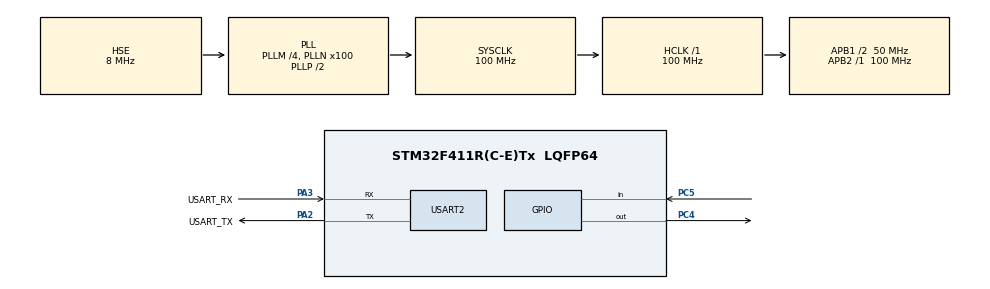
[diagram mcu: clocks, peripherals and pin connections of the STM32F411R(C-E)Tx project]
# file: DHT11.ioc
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Dma.Request0=USART2_RX
Dma.USART2_RX.0.Direction=DMA_PERIPH_TO_MEMORY
Dma.USART2_RX.0.FIFOMode=DMA_FIFOMODE_DISABLE
Dma.USART2_RX.0.Instance=DMA1_Stream5
Dma.USART2_RX.0.MemDataAlignment=DMA_MDATAALIGN_BYTE
Dma.USART2_RX.0.MemInc=DMA_MINC_ENABLE
Dma.USART2_RX.0.Mode=DMA_NORMAL
Dma.USART2_RX.0.PeriphDataAlignment=DMA_PDATAALIGN_BYTE
Dma.USART2_RX.0.PeriphInc=DMA_PINC_DISABLE
Dma.USART2_RX.0.Priority=DMA_PRIORITY_LOW
Mcu.Family=STM32F4
Mcu.Name=STM32F411R(C-E)Tx
Mcu.Package=LQFP64
NVIC.DMA1_Stream5_IRQn=true\:0\:0\:false\:false\:true\:false\:true\:true
NVIC.PriorityGroup=NVIC_PRIORITYGROUP_0
NVIC.RCC_IRQn=true\:0\:0\:false\:false\:true\:true\:false\:true
NVIC.TIM1_TRG_COM_TIM11_IRQn=true\:0\:0\:false\:false\:true\:true\:true\:true
NVIC.USART2_IRQn=true\:0\:0\:false\:false\:true\:true\:true\:true
PA13.GPIO_Label=TMS
PA13.Mode=Serial_Wire
PA13.Signal=SYS_JTMS-SWDIO
PA14.GPIO_Label=TCK
PA14.Mode=Serial_Wire
PA14.Signal=SYS_JTCK-SWCLK
PA2.GPIO_Label=USART_TX
PA2.Mode=Asynchronous
PA2.Signal=USART2_TX
PA3.GPIO_Label=USART_RX
PA3.Mode=Asynchronous
PA3.Signal=USART2_RX
PB3.GPIO_Label=SWO
PB3.Signal=SYS_JTDO-SWO
PC4.GPIO_Speed=GPIO_SPEED_FREQ_HIGH
PC4.Signal=GPIO_Output
PC5.Signal=GPIO_Input
PH0\ -\ OSC_IN.Mode=HSE-External-Oscillator
PH0\ -\ OSC_IN.Signal=RCC_OSC_IN
PH1\ -\ OSC_OUT.Mode=HSE-External-Oscillator
PH1\ -\ OSC_OUT.Signal=RCC_OSC_OUT
ProjectManager.HeapSize=0x200
ProjectManager.StackSize=0x400
ProjectManager.TargetToolchain=STM32CubeIDE
RCC.48MHZClocksFreq_Value=50000000
RCC.AHBFreq_Value=100000000
RCC.APB1CLKDivider=RCC_HCLK_DIV2
RCC.APB1Freq_Value=50000000
RCC.APB1TimFreq_Value=100000000
RCC.APB2Freq_Value=100000000
RCC.APB2TimFreq_Value=100000000
RCC.CortexFreq_Value=100000000
RCC.FLatency-AdvancedSettings=FLASH_LATENCY_3
RCC.HCLKFreq_Value=100000000
RCC.HSE_VALUE=8000000
RCC.HSI_VALUE=16000000
RCC.LSE_VALUE=32768
RCC.PLLM=4
RCC.PLLN=100
RCC.PLLSourceVirtual=RCC_PLLSOURCE_HSE
RCC.SYSCLKFreq_VALUE=100000000
RCC.SYSCLKSource=RCC_SYSCLKSOURCE_PLLCLK
RCC.VCOOutputFreq_Value=200000000
TIM11.Prescaler=100-1
USART2.VirtualMode=VM_ASYNC
VP_TIM11_VS_ClockSourceINT.Mode=Enable_Timer
board=NUCLEO-F411RE

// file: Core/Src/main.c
/* USER CODE BEGIN Header */
/**
  ******************************************************************************
  * @file           : main.c
  * @brief          : Main program body
  ******************************************************************************
  * @attention
  *
  * Copyright (c) 2025 STMicroelectronics.
  * All rights reserved.
  *
  * This software is licensed under terms that can be found in the LICENSE file
  * in the root directory of this software component.
  * If no LICENSE file comes with this software, it is provided AS-IS.
  *
  ******************************************************************************
  */
/* USER CODE END Header */
#include "main.h"
#include "dma.h"
#include "tim.h"
#include "usart.h"
#include "gpio.h"

/* USER CODE BEGIN Includes */
#include "dht11.h"
/* USER CODE END Includes */

/* USER CODE BEGIN PD */
#ifdef __GNUC__
  /* With GCC, small printf (option LD Linker->Libraries->Small printf
     set to 'Yes') calls __io_putchar() */
  #define PUTCHAR_PROTOTYPE int __io_putchar(int ch)
#else
  #define PUTCHAR_PROTOTYPE int fputc(int ch, FILE *f)
#endif /* __GNUC__ */
PUTCHAR_PROTOTYPE
{
  /* Place your implementation of fputc here */
  /* e.g. write a character to the EVAL_COM1 and Loop until the end of transmission */
  HAL_UART_Transmit(&huart2, (uint8_t *)&ch, 1, 0xFFFF);

  return ch;
}
/* USER CODE END PD */

/* USER CODE BEGIN PV */

DHT11 dht;

/* USER CODE END PV */

void SystemClock_Config(void);

int main(void)
{

  /* MCU Configuration--------------------------------------------------------*/

  /* Reset of all peripherals, Initializes the Flash interface and the Systick. */
  HAL_Init();

  /* Configure the system clock */
  SystemClock_Config();

  /* Initialize all configured peripherals */
  MX_GPIO_Init();
  MX_DMA_Init();
  MX_USART2_UART_Init();
  MX_TIM11_Init();
  /* USER CODE BEGIN 2 */

  dht11Init(&dht, GPIOC, GPIO_PIN_4);
  /* USER CODE END 2 */

  /* Infinite loop */
  /* USER CODE BEGIN WHILE */
  while (1)
  {
  //DHT11 데이터 읽기
    if(dht11Read(&dht)) //성공적으로 읽으면 true 반환
    {
      printf("Temperature : %d C,    Huminity : %d %% \r\n", dht.temperature, dht.humidity);
    }
    else
    {
      printf("Failed Read Data from DHT11\n");
    }

    HAL_Delay(2000);

    /* USER CODE END WHILE */

  }
}

void SystemClock_Config(void)
{
  RCC_OscInitTypeDef RCC_OscInitStruct = {0};
  RCC_ClkInitTypeDef RCC_ClkInitStruct = {0};

  /** Configure the main internal regulator output voltage
  */
  __HAL_RCC_PWR_CLK_ENABLE();
  __HAL_PWR_VOLTAGESCALING_CONFIG(PWR_REGULATOR_VOLTAGE_SCALE1);

  /** Initializes the RCC Oscillators according to the specified parameters
  * in the RCC_OscInitTypeDef structure.
  */
  RCC_OscInitStruct.OscillatorType = RCC_OSCILLATORTYPE_HSE;
  RCC_OscInitStruct.HSEState = RCC_HSE_ON;
  RCC_OscInitStruct.PLL.PLLState = RCC_PLL_ON;
  RCC_OscInitStruct.PLL.PLLSource = RCC_PLLSOURCE_HSE;
  RCC_OscInitStruct.PLL.PLLM = 4;
  RCC_OscInitStruct.PLL.PLLN = 100;
  RCC_OscInitStruct.PLL.PLLP = RCC_PLLP_DIV2;
  RCC_OscInitStruct.PLL.PLLQ = 4;
  if (HAL_RCC_OscConfig(&RCC_OscInitStruct) != HAL_OK)
  {
    Error_Handler();
  }

  /** Initializes the CPU, AHB and APB buses clocks
  */
  RCC_ClkInitStruct.ClockType = RCC_CLOCKTYPE_HCLK|RCC_CLOCKTYPE_SYSCLK
                              |RCC_CLOCKTYPE_PCLK1|RCC_CLOCKTYPE_PCLK2;
  RCC_ClkInitStruct.SYSCLKSource = RCC_SYSCLKSOURCE_PLLCLK;
  RCC_ClkInitStruct.AHBCLKDivider = RCC_SYSCLK_DIV1;
  RCC_ClkInitStruct.APB1CLKDivider = RCC_HCLK_DIV2;
  RCC_ClkInitStruct.APB2CLKDivider = RCC_HCLK_DIV1;

  if (HAL_RCC_ClockConfig(&RCC_ClkInitStruct, FLASH_LATENCY_3) != HAL_OK)
  {
    Error_Handler();
  }
}

void Error_Handler(void)
{
  __disable_irq();
  while (1)
  {
  }
}
